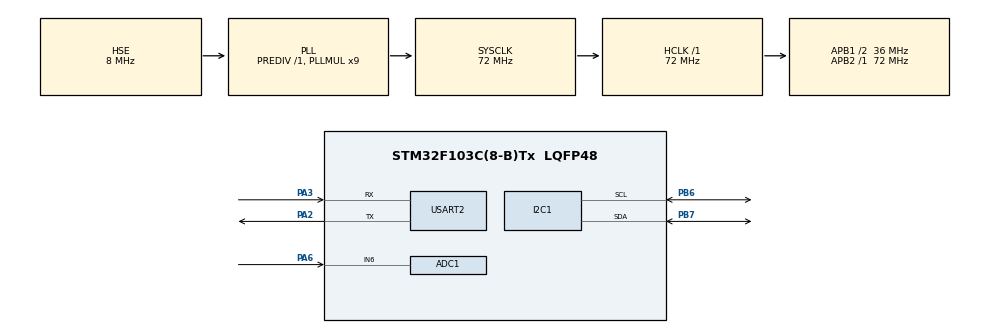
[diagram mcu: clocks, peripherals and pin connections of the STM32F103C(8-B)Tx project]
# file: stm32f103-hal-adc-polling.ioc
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ADC1.Channel-4\#ChannelRegularConversion=ADC_CHANNEL_6
ADC1.NbrOfConversionFlag=1
ADC1.Rank-4\#ChannelRegularConversion=1
ADC1.SamplingTime-4\#ChannelRegularConversion=ADC_SAMPLETIME_1CYCLE_5
ADC1.master=1
I2C1.I2C_Mode=I2C_Fast
Mcu.Family=STM32F1
Mcu.Name=STM32F103C(8-B)Tx
Mcu.Package=LQFP48
NVIC.PriorityGroup=NVIC_PRIORITYGROUP_4
PA13.Mode=Serial_Wire
PA13.Signal=SYS_JTMS-SWDIO
PA14.Mode=Serial_Wire
PA14.Signal=SYS_JTCK-SWCLK
PA2.Mode=Asynchronous
PA2.Signal=USART2_TX
PA3.Mode=Asynchronous
PA3.Signal=USART2_RX
PA6.Signal=ADCx_IN6
PB6.Mode=I2C
PB6.Signal=I2C1_SCL
PB7.Mode=I2C
PB7.Signal=I2C1_SDA
PD0-OSC_IN.Mode=HSE-External-Oscillator
PD0-OSC_IN.Signal=RCC_OSC_IN
PD1-OSC_OUT.Mode=HSE-External-Oscillator
PD1-OSC_OUT.Signal=RCC_OSC_OUT
ProjectManager.HeapSize=0x200
ProjectManager.StackSize=0x400
ProjectManager.TargetToolchain=MDK-ARM V5
RCC.ADCPresc=RCC_ADCPCLK2_DIV6
RCC.AHBFreq_Value=72000000
RCC.APB1CLKDivider=RCC_HCLK_DIV2
RCC.APB1Freq_Value=36000000
RCC.APB1TimFreq_Value=72000000
RCC.APB2Freq_Value=72000000
RCC.APB2TimFreq_Value=72000000
RCC.HCLKFreq_Value=72000000
RCC.PLLMUL=RCC_PLL_MUL9
RCC.PLLSourceVirtual=RCC_PLLSOURCE_HSE
RCC.SYSCLKFreq_VALUE=72000000
RCC.SYSCLKSource=RCC_SYSCLKSOURCE_PLLCLK
RCC.USBFreq_Value=72000000
SH.ADCx_IN6.0=ADC1_IN6,IN6
USART2.VirtualMode=VM_ASYNC
board=stm32f103-hal-adc-polling

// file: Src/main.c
/* USER CODE BEGIN Header */
/**
  **************************
  * @file           : main.c
  * @brief          : Main program body
  **************************
  * @attention
  *
  * <h2><center>&copy; Copyright (c) 2019 STMicroelectronics.
  * All rights reserved.</center></h2>
  *
  * This software component is licensed by ST under BSD 3-Clause license,
  * the "License"; You may not use this file except in compliance with the
  * License. You may obtain a copy of the License at:
  *                        opensource.org/licenses/BSD-3-Clause
  *
  **************************
  */
/* USER CODE END Header */

/* USER CODE BEGIN Includes */
#include "ssd1306.h"
#include "i2c-lcd.h"
#include "string.h"
#include "main.h"
#include "fonts.h"
/* USER CODE END Includes */

ADC_HandleTypeDef hadc1;

I2C_HandleTypeDef hi2c1;

UART_HandleTypeDef huart2;

/* USER CODE BEGIN PV */
/* Private variables ---------------------------------------------------------*/
float adcValue;
char strBuffer[32];
/* USER CODE END PV */

void SystemClock_Config(void);
static void MX_GPIO_Init(void);
static void MX_ADC1_Init(void);
static void MX_USART2_UART_Init(void);
static void MX_I2C1_Init(void);
/* USER CODE BEGIN PFP */
/* Private function prototypes -----------------------------------------------*/
uint16_t ADC_Read(void);
/* USER CODE END PFP */

/* USER CODE BEGIN 0 */
uint8_t check;
/* USER CODE END 0 */

int main(void)
{

  /* MCU Configuration--------------------------------------------------------*/

  /* Reset of all peripherals, Initializes the Flash interface and the Systick. */
  HAL_Init();

  /* Configure the system clock */
  SystemClock_Config();

  /* Initialize all configured peripherals */
  MX_GPIO_Init();
  MX_ADC1_Init();
  MX_USART2_UART_Init();
  MX_I2C1_Init();
  /* USER CODE BEGIN 2 */
	lcd_init ();
	check = SSD1306_Init ();
	SSD1306_Fill (0);
	SSD1306_UpdateScreen(); //display
  /* USER CODE END 2 */

  /* Infinite loop */
  while (1)
  {

    /* USER CODE BEGIN 3 */
		adcValue = ADC_Read();
	float adcn=(adcValue*(3300.0/4095.0))/1000;

    if(adcn>1){
		sprintf(strBuffer, "%.2fV         ", adcn);
		SSD1306_Fill(0);
		SSD1306_GotoXY (1,24);
		SSD1306_Puts (strBuffer, &Font_16x26, 1);
		SSD1306_UpdateScreen();
			HAL_Delay(250);
		}
		else{
			adcn=adcn*1000;
		sprintf(strBuffer, "%.1fmV          ", adcn);
		SSD1306_Fill(0);
		SSD1306_GotoXY (1,24);
		SSD1306_Puts (strBuffer, &Font_16x26, 1);
		SSD1306_UpdateScreen();
			HAL_Delay(250);

		}

		//HAL_UART_Transmit(&huart2, (uint8_t *)strBuffer, strlen(strBu+++ffer), 1);
		HAL_Delay(10);
  }
  /* USER CODE END 3 */
}

void SystemClock_Config(void)
{
  RCC_OscInitTypeDef RCC_OscInitStruct = {0};
  RCC_ClkInitTypeDef RCC_ClkInitStruct = {0};
  RCC_PeriphCLKInitTypeDef PeriphClkInit = {0};

  /** Initializes the CPU, AHB and APB busses clocks
  */
  RCC_OscInitStruct.OscillatorType = RCC_OSCILLATORTYPE_HSE;
  RCC_OscInitStruct.HSEState = RCC_HSE_ON;
  RCC_OscInitStruct.HSEPredivValue = RCC_HSE_PREDIV_DIV1;
  RCC_OscInitStruct.HSIState = RCC_HSI_ON;
  RCC_OscInitStruct.PLL.PLLState = RCC_PLL_ON;
  RCC_OscInitStruct.PLL.PLLSource = RCC_PLLSOURCE_HSE;
  RCC_OscInitStruct.PLL.PLLMUL = RCC_PLL_MUL9;
  if (HAL_RCC_OscConfig(&RCC_OscInitStruct) != HAL_OK)
  {
    Error_Handler();
  }
  /** Initializes the CPU, AHB and APB busses clocks
  */
  RCC_ClkInitStruct.ClockType = RCC_CLOCKTYPE_HCLK|RCC_CLOCKTYPE_SYSCLK
                              |RCC_CLOCKTYPE_PCLK1|RCC_CLOCKTYPE_PCLK2;
  RCC_ClkInitStruct.SYSCLKSource = RCC_SYSCLKSOURCE_PLLCLK;
  RCC_ClkInitStruct.AHBCLKDivider = RCC_SYSCLK_DIV1;
  RCC_ClkInitStruct.APB1CLKDivider = RCC_HCLK_DIV2;
  RCC_ClkInitStruct.APB2CLKDivider = RCC_HCLK_DIV1;

  if (HAL_RCC_ClockConfig(&RCC_ClkInitStruct, FLASH_LATENCY_2) != HAL_OK)
  {
    Error_Handler();
  }
  PeriphClkInit.PeriphClockSelection = RCC_PERIPHCLK_ADC;
  PeriphClkInit.AdcClockSelection = RCC_ADCPCLK2_DIV6;
  if (HAL_RCCEx_PeriphCLKConfig(&PeriphClkInit) != HAL_OK)
  {
    Error_Handler();
  }
}

static void MX_ADC1_Init(void)
{

  ADC_ChannelConfTypeDef sConfig = {0};

  /** Common config
  */
  hadc1.Instance = ADC1;
  hadc1.Init.ScanConvMode = ADC_SCAN_DISABLE;
  hadc1.Init.ContinuousConvMode = DISABLE;
  hadc1.Init.DiscontinuousConvMode = DISABLE;
  hadc1.Init.ExternalTrigConv = ADC_SOFTWARE_START;
  hadc1.Init.DataAlign = ADC_DATAALIGN_RIGHT;
  hadc1.Init.NbrOfConversion = 1;
  if (HAL_ADC_Init(&hadc1) != HAL_OK)
  {
    Error_Handler();
  }
  /** Configure Regular Channel
  */
  sConfig.Channel = ADC_CHANNEL_6;
  sConfig.Rank = ADC_REGULAR_RANK_1;
  sConfig.SamplingTime = ADC_SAMPLETIME_1CYCLE_5;
  if (HAL_ADC_ConfigChannel(&hadc1, &sConfig) != HAL_OK)
  {
    Error_Handler();
  }

}

static void MX_I2C1_Init(void)
{

  hi2c1.Instance = I2C1;
  hi2c1.Init.ClockSpeed = 400000;
  hi2c1.Init.DutyCycle = I2C_DUTYCYCLE_2;
  hi2c1.Init.OwnAddress1 = 0;
  hi2c1.Init.AddressingMode = I2C_ADDRESSINGMODE_7BIT;
  hi2c1.Init.DualAddressMode = I2C_DUALADDRESS_DISABLE;
  hi2c1.Init.OwnAddress2 = 0;
  hi2c1.Init.GeneralCallMode = I2C_GENERALCALL_DISABLE;
  hi2c1.Init.NoStretchMode = I2C_NOSTRETCH_DISABLE;
  if (HAL_I2C_Init(&hi2c1) != HAL_OK)
  {
    Error_Handler();
  }

}

static void MX_USART2_UART_Init(void)
{

  huart2.Instance = USART2;
  huart2.Init.BaudRate = 115200;
  huart2.Init.WordLength = UART_WORDLENGTH_8B;
  huart2.Init.StopBits = UART_STOPBITS_1;
  huart2.Init.Parity = UART_PARITY_NONE;
  huart2.Init.Mode = UART_MODE_TX_RX;
  huart2.Init.HwFlowCtl = UART_HWCONTROL_NONE;
  huart2.Init.OverSampling = UART_OVERSAMPLING_16;
  if (HAL_UART_Init(&huart2) != HAL_OK)
  {
    Error_Handler();
  }

}

static void MX_GPIO_Init(void)
{
  GPIO_InitTypeDef GPIO_InitStruct = {0};

  /* GPIO Ports Clock Enable */
  __HAL_RCC_GPIOC_CLK_ENABLE();
  __HAL_RCC_GPIOD_CLK_ENABLE();
  __HAL_RCC_GPIOA_CLK_ENABLE();
  __HAL_RCC_GPIOB_CLK_ENABLE();

  /*Configure GPIO pins : PC13 PC14 PC15 */
  GPIO_InitStruct.Pin = GPIO_PIN_13|GPIO_PIN_14|GPIO_PIN_15;
  GPIO_InitStruct.Mode = GPIO_MODE_ANALOG;
  HAL_GPIO_Init(GPIOC, &GPIO_InitStruct);

  /*Configure GPIO pins : PA0 PA1 PA4 PA5
                           PA7 PA8 PA9 PA10
                           PA11 PA12 PA15 */
  GPIO_InitStruct.Pin = GPIO_PIN_0|GPIO_PIN_1|GPIO_PIN_4|GPIO_PIN_5
                          |GPIO_PIN_7|GPIO_PIN_8|GPIO_PIN_9|GPIO_PIN_10
                          |GPIO_PIN_11|GPIO_PIN_12|GPIO_PIN_15;
  GPIO_InitStruct.Mode = GPIO_MODE_ANALOG;
  HAL_GPIO_Init(GPIOA, &GPIO_InitStruct);

  /*Configure GPIO pins : PB0 PB1 PB2 PB10
                           PB11 PB12 PB13 PB14
                           PB15 PB3 PB4 PB5
                           PB8 PB9 */
  GPIO_InitStruct.Pin = GPIO_PIN_0|GPIO_PIN_1|GPIO_PIN_2|GPIO_PIN_10
                          |GPIO_PIN_11|GPIO_PIN_12|GPIO_PIN_13|GPIO_PIN_14
                          |GPIO_PIN_15|GPIO_PIN_3|GPIO_PIN_4|GPIO_PIN_5
                          |GPIO_PIN_8|GPIO_PIN_9;
  GPIO_InitStruct.Mode = GPIO_MODE_ANALOG;
  HAL_GPIO_Init(GPIOB, &GPIO_InitStruct);

}

/* USER CODE BEGIN 4 */
/**
  * @brief  Read ADC value from ADC data register.
  * @param  None
  * @retval uint32_t: adcVal
  */
uint16_t ADC_Read(void)
{
	uint16_t adcVal;

	/* Enable ADC and start ADC conversion */
	HAL_ADC_Start(&hadc1);
	/* Wait for ADC conversion to be completed */
	HAL_ADC_PollForConversion(&hadc1, 1);
	/* Get ADC value from ADC data register */
	adcVal = HAL_ADC_GetValue(&hadc1);
	/* Stop ADC conversion and disable ADC */
	HAL_ADC_Stop(&hadc1);

	return adcVal;
}
/* USER CODE END 4 */

void Error_Handler(void)
{
  while(1)
  {
  }
}

/******** (C) COPYRIGHT STMicroelectronics **END OF FILE*/
